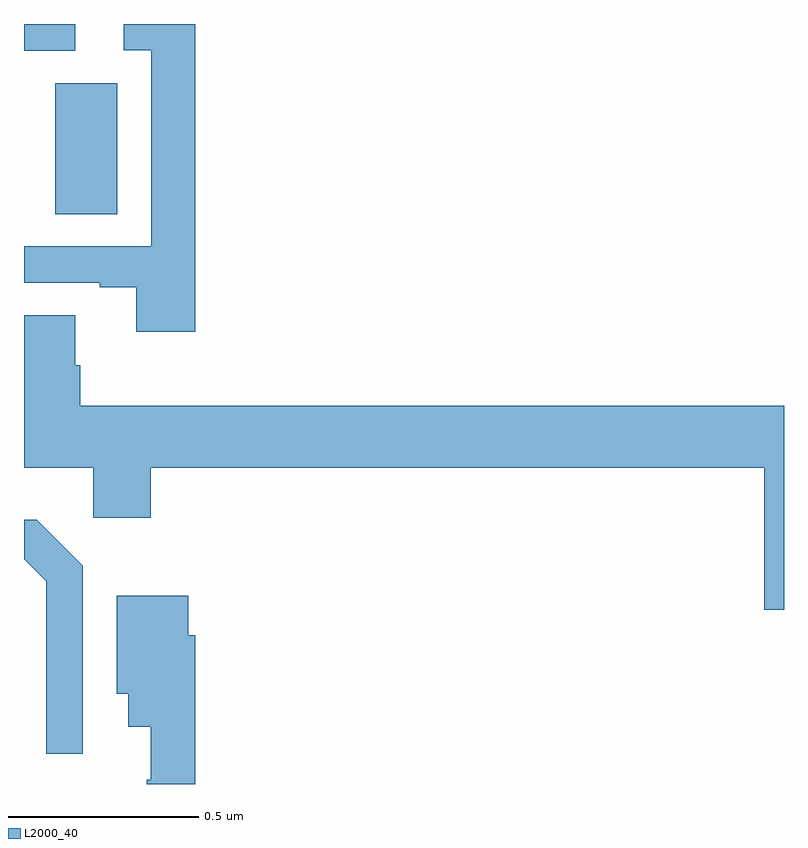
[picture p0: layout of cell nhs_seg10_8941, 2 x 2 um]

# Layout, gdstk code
import gdstk
lib = gdstk.Library(unit=1e-6, precision=1e-09)
def R(c, l, rs):  # rectangles x0, y0, x1, y1
    for r in rs: c.add(gdstk.rectangle(r[:2], r[2:], *l))
def P(c, l, *ps):  # polygons
    for p in ps: c.add(gdstk.Polygon(p, *l))
L2000_40 = (2000, 40)

nhs_seg10_8941 = lib.new_cell('nhs_seg10_8941')
R(nhs_seg10_8941, L2000_40, [(223.082,1285,223.246,1285.344), (223,1285.429,223.135,1285.5)])
P(nhs_seg10_8941, L2000_40, [(223.451,1285.5),(223.263,1285.5),(223.263,1285.431),(223.335,1285.431),(223.335,1284.915),(223,1284.915),(223,1284.819),(223.199,1284.819),(223.199,1284.807),(223.295,1284.807),(223.295,1284.69),(223.451,1284.69)],
  [(225,1284.496),(223.148,1284.496),(223.148,1284.602),(223.135,1284.602),(223.135,1284.734),(223,1284.734),(223,1284.332),(223.182,1284.332),(223.182,1284.201),(223.334,1284.201),(223.334,1284.332),(224.948,1284.332),(224.948,1283.958),(225,1283.958)],
  [(223.155,1284.075),(223.034,1284.196),(223,1284.196),(223,1284.092),(223.059,1284.033),(223.059,1283.58),(223.155,1283.58)],
  [(223.451,1283.891),(223.432,1283.891),(223.432,1283.995),(223.244,1283.995),(223.244,1283.738),(223.274,1283.738),(223.274,1283.651),(223.334,1283.651),(223.334,1283.511),(223.323,1283.511),(223.323,1283.5),(223.451,1283.5)])

lib.write_gds('nhs_seg10_8941.gds')
